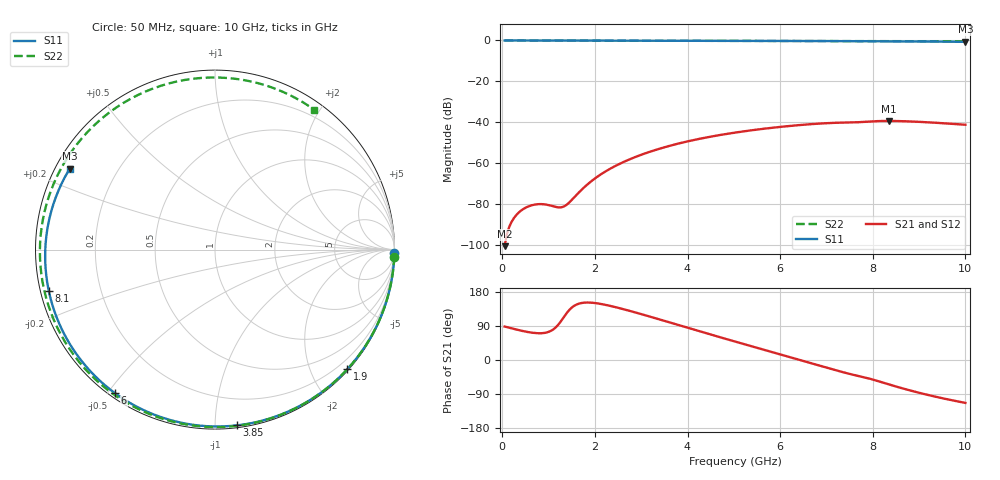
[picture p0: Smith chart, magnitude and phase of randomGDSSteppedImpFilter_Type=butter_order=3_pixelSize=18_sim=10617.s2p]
! freq	dB(S11)	phase(S11)	dB(S12)	phase(S12)
!  dB(S21)	phase(S21)	dB(S22)	phase(S22)
!S-par simulation data
#  GHz  S  DB  R 50
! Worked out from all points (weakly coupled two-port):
!   200 points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, 50 MHz to 10 GHz, reference 50 ohm
!   highest |S21| = -39.27 dB at 8.35 GHz (marker M1); lowest = -100.4 dB at 50 MHz (marker M2)
!   lowest |S11| = -0.7 dB at 10 GHz (marker M3), VSWR 26.20, Z = 2.04 + j13 ohm
!   |S11| at or under -10 dB: nowhere
!   |S22| runs from -0.4 to 0.0 dB; largest |S21 - S12| = 0
!   S11 on the Smith chart (normalised r, x): 50 MHz: open; 1.9 GHz: 0.02, -2.59; 3.85 GHz: 0.01, -1.13; 6 GHz: 0.02, -0.52; 8.1 GHz: 0.02, -0.12; 10 GHz: 0.04, +0.26
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0.05  -0.00 -1.1  -100.38 88.4  -100.38 88.4  -0.00 -2.2
0.35  -0.01 -7.9  -84.08 79.0  -84.08 79.0  -0.02 -15.4
0.65  -0.02 -14.6  -80.34 72.0  -80.34 72.0  -0.04 -28.3
1.05  -0.03 -23.6  -80.60 76.9  -80.60 76.9  -0.06 -45.0
1.4  -0.04 -31.3  -79.99 125.3  -79.99 125.3  -0.07 -59.1
1.75  -0.05 -38.9  -72.04 151.1  -72.04 151.1  -0.09 -72.6
1.9  -0.05 -42.2  -69.09 151.5  -69.09 151.5  -0.09 -78.1
2.2  -0.06 -48.6  -64.31 146.3  -64.31 146.3  -0.10 -88.9
2.55  -0.07 -56.1  -60.03 136.2  -60.03 136.2  -0.11 -100.8
2.95  -0.08 -64.4  -56.20 122.9  -56.20 122.9  -0.12 -113.7
3.4  -0.10 -73.7  -52.79 106.9  -52.79 106.9  -0.14 -127.3
3.85  -0.11 -82.8  -50.05 90.7  -50.05 90.7  -0.16 -140.2
4.45  -0.14 -94.7  -47.15 69.0  -47.15 69.0  -0.18 -156.5
5.05  -0.17 -106.5  -44.88 47.8  -44.88 47.8  -0.20 -172.1
6  -0.22 -124.8  -42.19 14.9  -42.19 14.9  -0.25 164.0
6.7  -0.27 -138.3  -40.79 -9.4  -40.79 -9.4  -0.28 146.4
7.45  -0.34 -153.0  -40.03 -35.2  -40.03 -35.2  -0.32 127.1
8.1  -0.41 -166.1  -39.37 -55.2  -39.37 -55.2  -0.34 109.8
8.35  -0.44 -171.4  -39.27 -64.6  -39.27 -64.6  -0.35 102.9
8.8  -0.49 179.0  -39.51 -80.2  -39.51 -80.2  -0.36 90.3
9.2  -0.55 170.0  -39.95 -92.5  -39.95 -92.5  -0.37 78.7
10  -0.66 150.8  -41.14 -113.2  -41.14 -113.2  -0.40 54.6
